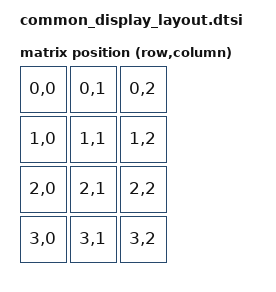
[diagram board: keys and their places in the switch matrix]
/*
 * Copyright (c) 2022-2024 The ZMK Contributors
 *
 * SPDX-License-Identifier: MIT
 */

#include <dt-bindings/zmk/matrix_transform.h>
#include <physical_layouts.dtsi>

/ {
    layout_3x4: layout_3x4 {
        compatible = "zmk,physical-layout";
        display-name = "default layout";
        transform = <&m66>;
        keys  //                     w   h    x    y     rot    rx    ry
            = <&key_physical_attrs 100 100    0    0       0     0     0>
            , <&key_physical_attrs 100 100  100    0       0     0     0>
            , <&key_physical_attrs 100 100  200    0       0     0     0>
            , <&key_physical_attrs 100 100    0  100       0     0     0>
            , <&key_physical_attrs 100 100  100  100       0     0     0>
            , <&key_physical_attrs 100 100  200  100       0     0     0>
            , <&key_physical_attrs 100 100    0  200       0     0     0>
            , <&key_physical_attrs 100 100  100  200       0     0     0>
            , <&key_physical_attrs 100 100  200  200       0     0     0>
            , <&key_physical_attrs 100 100    0  300       0     0     0>
            , <&key_physical_attrs 100 100  100  300       0     0     0>
            , <&key_physical_attrs 100 100  200  300       0     0     0>
        ;
   };

   dev_position_map {
        compatible = "zmk,physical-layout-position-map";
        complete; 
        layout_3x4_posmap: layout_3x4 {
            physical-layout = <&layout_3x4>;
            positions
              = < 0  1  2 >
              , < 3  4  5 >
              , < 6  7  8 >
              , < 9 10 11 >
            ;
        };
    };

      m66: m66_0 {
        compatible = "zmk,matrix-transform";
        rows = <4>;
        columns = <3>;
        // ╭───┬───┬───╮
        // │ 1 │ 2 │ 3 │
        // ├───┼───┼───┤
        // │ 4 │ 5 │ 6 │
        // ├───┼───┼───┤
        // │ 7 │ 8 │ 9 │
        // ├───┼───┼───┤
        // │ * │ 0 │ # │
        // ╰───┴───┴───╯
        map = <
            RC(0,0) RC(0,1) RC(0,2)
            RC(1,0) RC(1,1) RC(1,2)
            RC(2,0) RC(2,1) RC(2,2)
            RC(3,0) RC(3,1) RC(3,2)
        >;
      };
};
